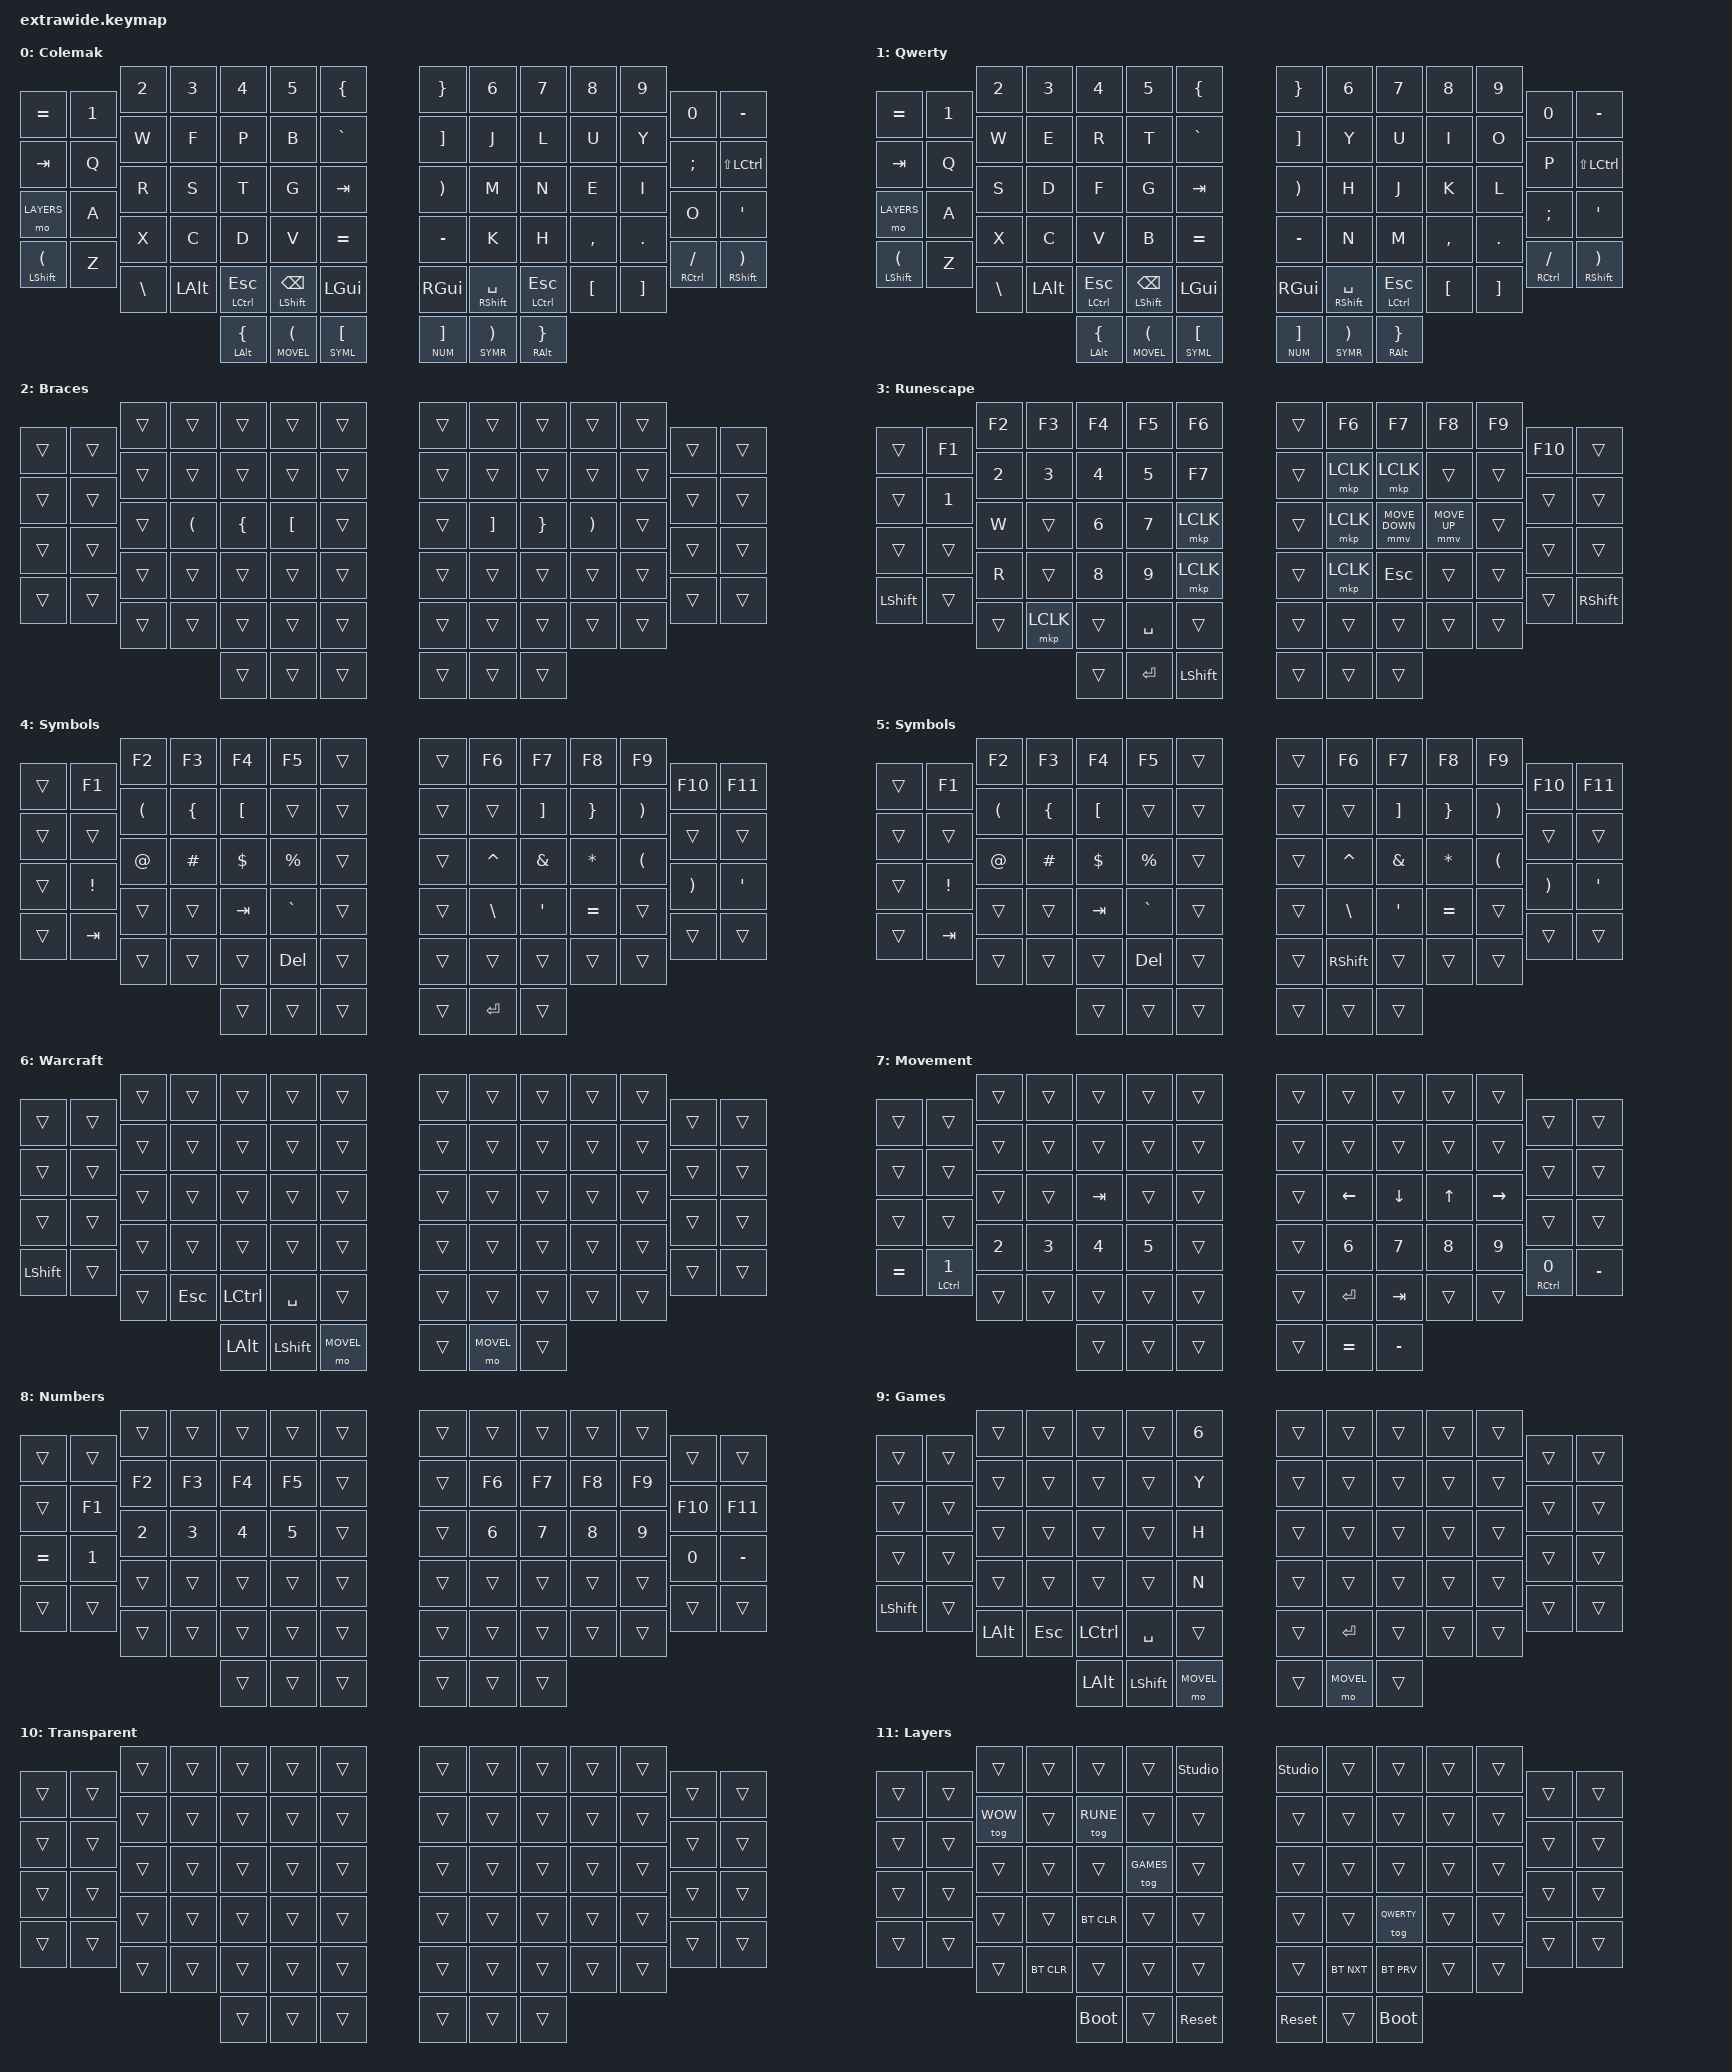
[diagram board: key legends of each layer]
#include <behaviors.dtsi>
#include <dt-bindings/zmk/keys.h>
#include <dt-bindings/zmk/bt.h>
#include <dt-bindings/zmk/outputs.h>

#define ZMK_POINTING_DEFAULT_MOVE_VAL 300

#include <dt-bindings/zmk/mouse.h>
#include <dt-bindings/zmk/pointing.h>


#define CTRL_ESC &mt LCTRL ESC
#define LSPAR &mt LSHFT LPAR
#define RSPAR &mt RSHFT RPAR
#define CSHT &kp LS(LCTRL)
#define CTSLH &mt RCTRL FSLH

// space/bksp shift?
#define LSHBSP &mt LSHFT BSPC
#define RSHSPC &mt RSHFT SPACE

// PAR layers
#define MOVPAR &lt MOVEL LPAR
#define SYMLPAR &lt SYML LPAR
#define SYMRPAR &lt SYMR RPAR

// BKT layers
#define NUMBKT &lt NUM RBKT
#define SYMRBKT &lt SYMR RBKT
#define SYMLBKT &lt SYML LBKT
#define MOVBKT &lt MOVEL LBKT

// PAR gui
#define LGPAR &mt LGUI LPAR
#define RGPAR &mt RGUI RPAR

// BRC alt
#define LABRC &mt LALT LBRC
#define RABRC &mt RALT RBRC

#define COLEL 0
#define QWERTY 1
#define BRACEL 2
#define RUNE 3
#define SYML 4
#define SYMR 5
#define WOW 6
#define MOVEL 7
#define NUM 8
#define GAMES 9
#define TRANS 10
#define LAYERS 11

#define K_LAYERS &mo LAYERS

&lt {
    tapping-term-ms = <150>;
    flavor = "balanced";
};

&mt {
    flavor = "balanced";
    hold-while-undecided;
    tapping-term-ms = <200>;
    quick-tap-ms = <175>;
    // require-prior-idle-ms = <150>;
};

&mmv {
    acceleration-exponent = <0>;
};


/ {
    macros {
        file_save: file_save {
            compatible = "zmk,behavior-macro";
            #binding-cells = <0>;
            tap-ms = <20>;
            bindings = <&kp SPACE &kp F &kp S>;
        };
    };
    behaviours {
    };
    keymap {
        compatible = "zmk,keymap";

        colemak_layer {
            display-name = "Colemak";
            bindings = <
                &kp EQUAL    &kp N1    &kp N2    &kp N3   &kp N4 &kp N5 &kp LBRC    &kp RBRC   &kp N6   &kp N7  &kp N8    &kp N9   &kp N0     &kp MINUS
                &kp TAB      &kp Q     &kp W     &kp F    &kp P  &kp B  &kp GRAVE   &kp RBKT   &kp J    &kp L   &kp U     &kp Y    &kp SEMI   CSHT
                K_LAYERS     &kp A     &kp R     &kp S    &kp T  &kp G  &kp TAB     &kp RPAR   &kp M    &kp N   &kp E     &kp I    &kp O      &kp SQT
                LSPAR        &kp Z     &kp X     &kp C    &kp D  &kp V  &kp EQUAL   &kp MINUS  &kp K    &kp H   &kp COMMA &kp DOT  CTSLH      RSPAR
                                     &kp BSLH &kp LALT CTRL_ESC LSHBSP  &kp LGUI    &kp RGUI    RSHSPC CTRL_ESC &kp LBKT  &kp RBKT
                                                       LABRC    MOVPAR  SYMLBKT     NUMBKT      SYMRPAR RABRC
            >;
        };

        qwerty_layer {
            display-name = "Qwerty";
            bindings = <
                &kp EQUAL  &kp N1 &kp N2   &kp N3   &kp N4   &kp N5  &kp LBRC    &kp RBRC    &kp N6 &kp N7   &kp N8    &kp N9   &kp N0     &kp MINUS
                &kp TAB    &kp Q  &kp W    &kp E    &kp R    &kp T   &kp GRAVE   &kp RBKT    &kp Y  &kp U    &kp I     &kp O    &kp P      CSHT
                &mo LAYERS &kp A  &kp S    &kp D    &kp F    &kp G   &kp TAB     &kp RPAR    &kp H  &kp J    &kp K     &kp L    &kp SEMI   &kp SQT
                LSPAR      &kp Z  &kp X    &kp C    &kp V    &kp B   &kp EQUAL   &kp MINUS   &kp N  &kp M    &kp COMMA &kp DOT  CTSLH      RSPAR
                                  &kp BSLH &kp LALT CTRL_ESC LSHBSP  &kp LGUI    &kp RGUI    RSHSPC CTRL_ESC &kp LBKT  &kp RBKT
                                                    LABRC    MOVPAR  SYMLBKT     NUMBKT      SYMRPAR RABRC

            >;
        };

        brace_layer {
            display-name = "Braces";
            bindings = < //                                                        ||
                &trans    &trans    &trans    &trans    &trans    &trans    &trans    &trans    &trans    &trans    &trans    &trans    &trans    &trans
                &trans    &trans    &trans    &trans    &trans    &trans    &trans    &trans    &trans    &trans    &trans    &trans    &trans    &trans
                &trans    &trans    &trans    &kp LPAR  &kp LBRC  &kp LBKT  &trans    &trans    &kp RBKT &kp RBRC  &kp RPAR  &trans    &trans    &trans
                &trans    &trans    &trans    &trans    &trans    &trans    &trans    &trans    &trans    &trans    &trans    &trans    &trans    &trans
                                    &trans    &trans    &trans    &trans    &trans    &trans    &trans    &trans    &trans    &trans
                                                        &trans    &trans    &trans    &trans    &trans    &trans
            >;
        };

        rune_layer {
            display-name = "Runescape";
            bindings = <
                &trans    &kp F1    &kp F2    &kp F3    &kp F4    &kp F5    &kp F6           &trans    &kp F6    &kp F7         &kp F8       &kp F9    &kp F10   &trans
                &trans    &kp N1    &kp N2    &kp N3    &kp N4    &kp N5    &kp F7           &trans    &mkp LCLK &mkp LCLK      &trans       &trans    &trans    &trans
                &trans    &trans    &kp W     &trans    &kp N6    &kp N7    &mkp LCLK        &trans    &mkp LCLK &mmv MOVE_DOWN &mmv MOVE_UP &trans    &trans    &trans
                &kp LSHFT &trans    &kp R     &trans    &kp N8    &kp N9    &mkp LCLK        &trans    &mkp LCLK &kp ESC        &trans       &trans    &trans    &kp RSHFT
                                    &trans    &mkp LCLK &trans    &kp SPACE &trans           &trans    &trans    &trans         &trans       &trans
                                                        &trans    &kp RET   &kp LSHFT        &trans    &trans    &trans
            >;
        };

        syml_layer {
            display-name = "Symbols";
            bindings = < //                                                        ||
                &trans    &kp F1    &kp F2    &kp F3   &kp F4    &kp F5     &trans    &trans    &kp F6          &kp F7    &kp F8    &kp F9    &kp F10   &kp F11
                &trans    &trans    &kp LPAR  &kp LBRC &kp LBKT  &trans     &trans    &trans    &trans          &kp RBKT  &kp RBRC  &kp RPAR  &trans    &trans
                &trans    &kp EXCL  &kp AT    &kp HASH &kp DLLR  &kp PRCNT  &trans    &trans    &kp CARET       &kp AMPS  &kp STAR  &kp LPAR  &kp RPAR  &kp SQT
                &trans    &kp TAB   &trans    &trans   &kp TAB   &kp GRAVE  &trans    &trans    &kp BSLH        &kp SQT   &kp EQUAL &trans    &trans    &trans
                                    &trans    &trans   &trans    &kp DEL    &trans    &trans    &trans          &trans    &trans    &trans
                                                       &trans    &trans     &trans    &trans    &kp RET         &trans
            >;
        };

        symr_layer {
            display-name = "Symbols";
            bindings = < //                                                        ||
                &trans    &kp F1    &kp F2    &kp F3   &kp F4    &kp F5     &trans    &trans    &kp F6          &kp F7    &kp F8    &kp F9    &kp F10   &kp F11
                &trans    &trans    &kp LPAR  &kp LBRC &kp LBKT  &trans     &trans    &trans    &trans          &kp RBKT  &kp RBRC  &kp RPAR  &trans    &trans
                &trans    &kp EXCL  &kp AT    &kp HASH &kp DLLR  &kp PRCNT  &trans    &trans    &kp CARET       &kp AMPS  &kp STAR  &kp LPAR  &kp RPAR  &kp SQT
                &trans    &kp TAB   &trans    &trans   &kp TAB   &kp GRAVE  &trans    &trans    &kp BSLH        &kp SQT   &kp EQUAL &trans    &trans    &trans
                                    &trans    &trans   &trans    &kp DEL    &trans    &trans    &kp RSHFT      &trans    &trans    &trans
                                                       &trans    &trans     &trans    &trans    &trans         &trans
            >;
        };

        wow_layer {
            display-name = "Warcraft";
            bindings = <
                &trans    &trans    &trans    &trans   &trans    &trans     &trans    &trans    &trans    &trans    &trans    &trans    &trans    &trans
                &trans    &trans    &trans    &trans   &trans    &trans     &trans    &trans    &trans    &trans    &trans    &trans    &trans    &trans
                &trans    &trans    &trans    &trans   &trans    &trans     &trans    &trans    &trans    &trans    &trans    &trans    &trans    &trans
                &kp LSHFT &trans    &trans    &trans   &trans    &trans     &trans    &trans    &trans    &trans    &trans    &trans    &trans    &trans
                                    &trans    &kp ESC  &kp LCTRL &kp SPACE  &trans    &trans    &trans    &trans    &trans    &trans
                                                       &kp LALT  &kp LSHFT  &mo MOVEL  &trans    &mo MOVEL  &trans

            >;
        };


        move_layer {
            display-name = "Movement";
            bindings = <
                &trans    &trans    &trans    &trans    &trans    &trans    &trans    &trans    &trans    &trans    &trans    &trans     &trans    &trans
                &trans    &trans    &trans    &trans    &trans    &trans    &trans    &trans    &trans    &trans    &trans    &trans     &trans    &trans
                &trans    &trans    &trans    &trans    &kp TAB   &trans    &trans    &trans    &kp LEFT  &kp DOWN  &kp UP    &kp RIGHT  &trans    &trans
                &kp EQUAL &mt LCTRL N1    &kp N2    &kp N3    &kp N4    &kp N5    &trans    &trans    &kp N6    &kp N7    &kp N8    &kp N9     &mt RCTRL N0    &kp MINUS
                                    &trans    &trans    &trans    &trans    &trans    &trans    &kp RET   &kp TAB   &trans    &trans
                                                        &trans    &trans    &trans    &trans    &kp EQUAL &kp MINUS
            >;
        };


        num_layer {
            display-name = "Numbers";
            bindings = <
                &trans    &trans    &trans    &trans    &trans    &trans    &trans    &trans    &trans    &trans    &trans    &trans     &trans    &trans
                &trans    &kp F1    &kp F2    &kp F3    &kp F4    &kp F5    &trans    &trans    &kp F6    &kp F7    &kp F8    &kp F9     &kp F10   &kp F11
                &kp EQUAL &kp N1    &kp N2    &kp N3    &kp N4    &kp N5    &trans    &trans    &kp N6    &kp N7    &kp N8    &kp N9     &kp N0    &kp MINUS
                &trans    &trans    &trans    &trans    &trans    &trans    &trans    &trans    &trans    &trans    &trans    &trans     &trans    &trans
                                    &trans    &trans    &trans    &trans    &trans    &trans    &trans    &trans    &trans    &trans
                                                        &trans    &trans    &trans    &trans    &trans    &trans
            >;
        };

        games_layer {
            display-name = "Games";
            bindings = <
                &trans    &trans    &trans    &trans   &trans    &trans     &kp 6     &trans    &trans    &trans    &trans    &trans    &trans    &trans
                &trans    &trans    &trans    &trans   &trans    &trans     &kp Y     &trans    &trans    &trans    &trans    &trans    &trans    &trans
                &trans    &trans    &trans    &trans   &trans    &trans     &kp H     &trans    &trans    &trans    &trans    &trans    &trans    &trans
                &kp LSHFT &trans    &trans    &trans   &trans    &trans     &kp N     &trans    &trans    &trans    &trans    &trans    &trans    &trans
                                    &kp LALT  &kp ESC  &kp LCTRL &kp SPACE  &trans    &trans    &kp RET   &trans    &trans    &trans
                                                       &kp LALT  &kp LSHFT  &mo MOVEL &trans    &mo MOVEL  &trans
            >;
        };

        trans_layer {
            display-name = "Transparent";
            bindings = < //                                                        ||
                &trans    &trans    &trans    &trans    &trans    &trans    &trans    &trans    &trans    &trans    &trans    &trans    &trans    &trans
                &trans    &trans    &trans    &trans    &trans    &trans    &trans    &trans    &trans    &trans    &trans    &trans    &trans    &trans
                &trans    &trans    &trans    &trans    &trans    &trans    &trans    &trans    &trans    &trans    &trans    &trans    &trans    &trans
                &trans    &trans    &trans    &trans    &trans    &trans    &trans    &trans    &trans    &trans    &trans    &trans    &trans    &trans
                                    &trans    &trans    &trans    &trans    &trans    &trans    &trans    &trans    &trans    &trans
                                                        &trans    &trans    &trans    &trans    &trans    &trans
            >;
        };


        layers_layer {
            display-name = "Layers";
            bindings = <
                &trans    &trans    &trans      &trans      &trans      &trans     &studio_unlock    &studio_unlock    &trans     &trans       &trans    &trans    &trans    &trans
                &trans    &trans    &tog WOW    &trans      &tog RUNE   &trans     &trans            &trans            &trans     &trans       &trans    &trans    &trans    &trans
                &trans    &trans    &trans      &trans      &trans      &tog GAMES &trans            &trans            &trans     &trans       &trans    &trans    &trans    &trans
                &trans    &trans    &trans      &trans      &bt BT_CLR  &trans     &trans            &trans            &trans     &tog QWERTY   &trans    &trans    &trans    &trans
                                    &trans      &bt BT_CLR  &trans      &trans     &trans            &trans            &bt BT_NXT &bt BT_PRV   &trans    &trans
                                                            &bootloader &trans     &sys_reset        &sys_reset        &trans     &bootloader
            >;
        };
    };
};
